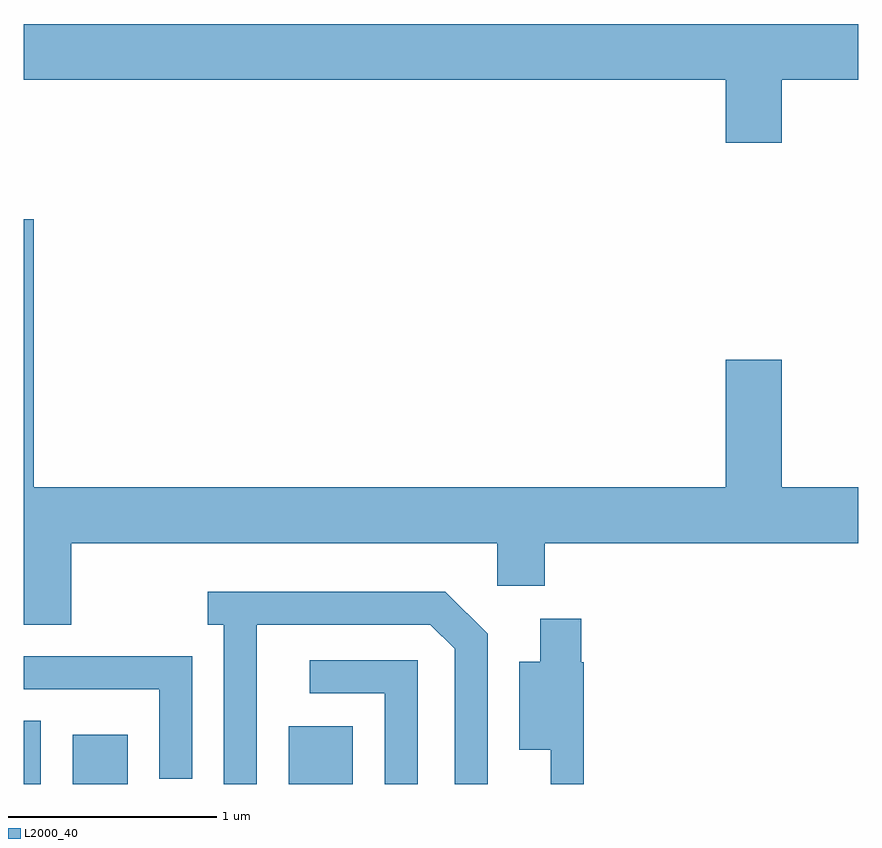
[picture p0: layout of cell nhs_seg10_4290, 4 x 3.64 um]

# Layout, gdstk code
import gdstk
lib = gdstk.Library(unit=1e-6, precision=1e-09)
def R(c, l, rs):  # rectangles x0, y0, x1, y1
    for r in rs: c.add(gdstk.rectangle(r[:2], r[2:], *l))
def P(c, l, *ps):  # polygons
    for p in ps: c.add(gdstk.Polygon(p, *l))
L2000_40 = (2000, 40)

nhs_seg10_4290 = lib.new_cell('nhs_seg10_4290')
R(nhs_seg10_4290, L2000_40, [(311.611,2130.522,311.694,2130.824), (311.846,2130.522,312.109,2130.759), (312.881,2130.522,313.189,2130.799)])
P(nhs_seg10_4290, L2000_40, [(315.244,2133.896),(315.611,2133.896),(315.611,2134.164),(311.611,2134.164),(311.611,2133.896),(314.976,2133.896),(314.976,2133.596),(315.244,2133.596)],
  [(311.839,2131.676),(313.881,2131.676),(313.881,2131.471),(314.109,2131.471),(314.109,2131.676),(315.611,2131.676),(315.611,2131.944),(315.244,2131.944),(315.244,2132.554),(314.976,2132.554),(314.976,2131.944),(311.659,2131.944),(311.659,2133.229),(311.611,2133.229),(311.611,2131.286),(311.839,2131.286)],
  [(312.729,2131.286),(313.559,2131.286),(313.676,2131.169),(313.676,2130.522),(313.834,2130.522),(313.834,2131.242),(313.632,2131.444),(312.493,2131.444),(312.493,2131.286),(312.571,2131.286),(312.571,2130.522),(312.729,2130.522)],
  [(314.294,2131.105),(314.284,2131.105),(314.284,2131.314),(314.086,2131.314),(314.086,2131.109),(313.986,2131.109),(313.986,2130.686),(314.136,2130.686),(314.136,2130.522),(314.294,2130.522)],
  [(312.419,2131.134),(311.611,2131.134),(311.611,2130.976),(312.261,2130.976),(312.261,2130.548),(312.419,2130.548)],
  [(313.499,2131.114),(312.983,2131.114),(312.983,2130.956),(313.341,2130.956),(313.341,2130.522),(313.499,2130.522)])

lib.write_gds('nhs_seg10_4290.gds')
